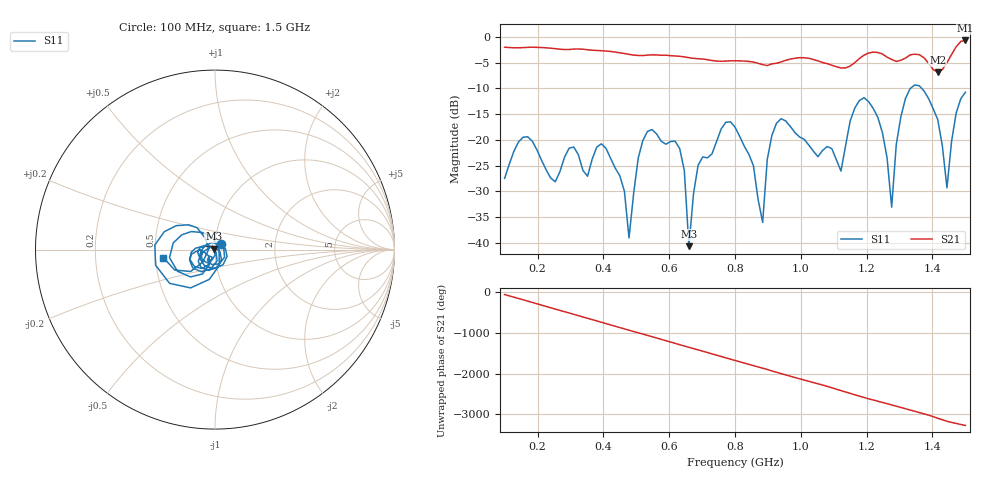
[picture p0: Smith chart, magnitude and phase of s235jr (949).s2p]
! NanoVNA-App
! Date: 2025-09-25 15:11:33
! Start: 100MHz Stop: 1,5GHz Points: 101
! S-Parameter data: F S11 S21 S12 S22
# Hz S RI R 50
!  Frequency  S11_Real  S11_Imag  S21_Real  S21_Imag  S12_Real  S12_Imag  S22_Real  S22_Imag
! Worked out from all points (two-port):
!   101 points, 100 MHz to 1.5 GHz, reference 50 ohm
!   highest |S21| = -0.66 dB at 1.5 GHz (marker M1); lowest = -6.9 dB at 1.416 GHz (marker M2)
!   |S21| within 3 dB of the highest: start of sweep to 614.6 MHz; 1.189 GHz to 1.256 GHz (67.29 MHz wide, 5.5 % of centre) (the widest 2 of 4)
!   lowest |S11| = -40.7 dB at 660 MHz (marker M3), VSWR 1.02, Z = 49.3 + j0.542 ohm
!   |S11| at or under -10 dB: start of sweep to 1.333 GHz; 1.367 GHz to end of sweep
!   S12 and S22 are empty: the file has one direction only
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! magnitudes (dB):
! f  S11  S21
! 100 MHz  -27.5  -2.0
! 170 MHz  -19.4  -2.0
! 338 MHz  -25.9  -2.4
! 408 MHz  -21.6  -2.7
! 478 MHz  -39.1  -3.4
! 520 MHz  -20.1  -3.6
! 576 MHz  -20.3  -3.5
! 632 MHz  -21.7  -3.7
! 660 MHz  -40.7  -4.0
! 688 MHz  -24.9  -4.2
! 800 MHz  -17.5  -4.6
! 884 MHz  -36.0  -5.4
! 926 MHz  -16.8  -5.1
! 1.038 GHz  -22.2  -4.4
! 1.122 GHz  -26.1  -6.0
! 1.192 GHz  -11.8  -3.5
! 1.248 GHz  -18.6  -3.3
! 1.276 GHz  -33.1  -4.3
! 1.332 GHz  -10.0  -3.5
! 1.416 GHz  -16.1  -6.9
! 1.444 GHz  -29.3  -5.0
! 1.5 GHz  -10.7  -0.7
